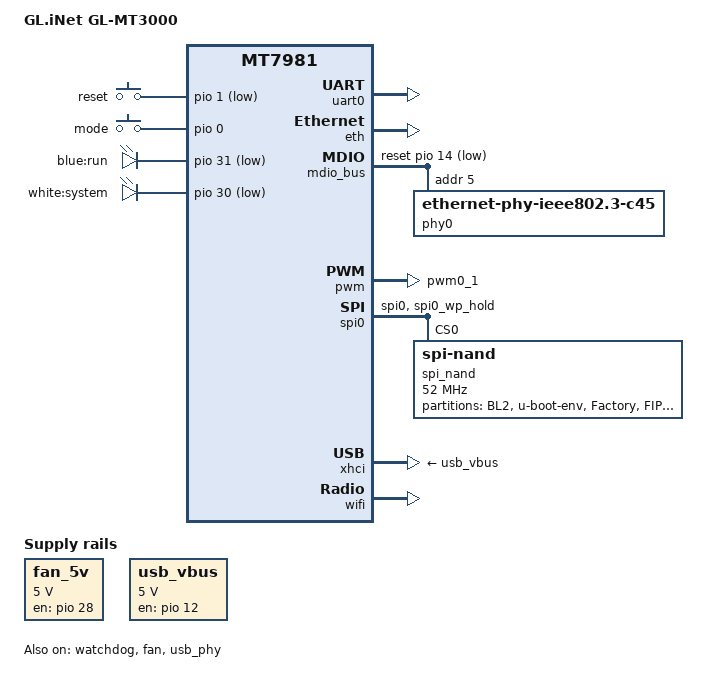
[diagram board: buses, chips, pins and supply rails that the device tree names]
/dts-v1/;

#include "mt7981.dtsi"

/ {
	model = "GL.iNet GL-MT3000";
	compatible = "glinet,gl-mt3000", "mediatek,mt7981";

	aliases {
		led-boot = &led_run;
		led-failsafe = &led_run;
		led-running = &led_white;
		led-upgrade = &led_run;
		serial0 = &uart0;
	};

	chosen {
		stdout-path = "serial0:115200n8";
	};

	gpio-keys {
		compatible = "gpio-keys";

		reset {
			label = "reset";
			linux,code = <KEY_RESTART>;
			gpios = <&pio 1 GPIO_ACTIVE_LOW>;
		};

		mode {
			label = "mode";
			linux,input-type = <EV_SW>;
			linux,code = <BTN_0>;
			gpios = <&pio 0 GPIO_ACTIVE_HIGH>;
			debounce-interval = <60>;
		};
	};

	leds {
		compatible = "gpio-leds";

		led_run: run {
			label = "blue:run";
			gpios = <&pio 31 GPIO_ACTIVE_LOW>;
		};

		led_white: system {
			label = "white:system";
			gpios = <&pio 30 GPIO_ACTIVE_LOW>;
		};
	};

	fan_5v: regulator-fan-5v {
		compatible = "regulator-fixed";
		regulator-name = "fan";
		regulator-min-microvolt = <5000000>;
		regulator-max-microvolt = <5000000>;
		gpio = <&pio 28 GPIO_ACTIVE_HIGH>;
		enable-active-high;
		regulator-boot-on;
	};

	usb_vbus: regulator-usb-vbus {
		compatible = "regulator-fixed";
		regulator-name = "usb_vbus";
		regulator-min-microvolt = <5000000>;
		regulator-max-microvolt = <5000000>;
		gpio = <&pio 12 GPIO_ACTIVE_HIGH>;
		enable-active-high;
		regulator-boot-on;
	};
};

&uart0 {
	status = "okay";
};

&watchdog {
	status = "okay";
};

&eth {
	pinctrl-names = "default";
	pinctrl-0 = <&mdio_pins>;

	status = "okay";

	gmac0: mac@0 {
		compatible = "mediatek,eth-mac";
		reg = <0>;
		phy-mode = "2500base-x";
		phy-handle = <&phy0>;
		nvmem-cells = <&macaddr>;
		nvmem-cell-names = "mac-address";
	};

	gmac1: mac@1 {
		compatible = "mediatek,eth-mac";
		reg = <1>;
		phy-mode = "gmii";
		phy-handle = <&int_gbe_phy>;
		nvmem-cells = <&macaddr>;
		nvmem-cell-names = "mac-address";
		mac-address-increment = <1>;
	};
};

&mdio_bus {
	reset-gpios = <&pio 14 GPIO_ACTIVE_LOW>;
	reset-delay-us = <600>;
	reset-post-delay-us = <20000>;

	phy0: ethernet-phy@5 {
		reg = <5>;
		compatible = "ethernet-phy-ieee802.3-c45";
		phy-mode = "2500base-x";
	};
};

&pwm {
	pinctrl-names = "default";
	pinctrl-0 = <&pwm_pins>;

	status = "okay";
};

&fan {
	pwms = <&pwm 0 40000 0>;
	fan-supply = <&fan_5v>;
	interrupt-parent = <&pio>;
	interrupts = <29 IRQ_TYPE_EDGE_RISING>;
	status = "okay";
};

&spi0 {
	pinctrl-names = "default";
	pinctrl-0 = <&spi0_flash_pins>;
	status = "okay";

	spi_nand: flash@0 {
		#address-cells = <1>;
		#size-cells = <1>;
		compatible = "spi-nand";
		reg = <0>;
		spi-max-frequency = <52000000>;

		spi-cal-enable;
		spi-cal-mode = "read-data";
		spi-cal-datalen = <7>;
		spi-cal-data = /bits/ 8 <0x53 0x50 0x49 0x4E 0x41 0x4E 0x44>;
		spi-cal-addrlen = <5>;
		spi-cal-addr = /bits/ 32 <0x0 0x0 0x0 0x0 0x0>;

		spi-tx-buswidth = <4>;
		spi-rx-buswidth = <4>;
		mediatek,nmbm;
		mediatek,bmt-max-ratio = <1>;
		mediatek,bmt-max-reserved-blocks = <64>;

		partitions {
			compatible = "fixed-partitions";
			#address-cells = <1>;
			#size-cells = <1>;

			partition@0 {
				label = "BL2";
				reg = <0x00000 0x0100000>;
				read-only;
			};

			partition@100000 {
				label = "u-boot-env";
				reg = <0x0100000 0x0080000>;
			};

			factory: partition@180000 {
				label = "Factory";
				reg = <0x180000 0x0200000>;
				compatible = "nvmem-cells";
				#address-cells = <1>;
				#size-cells = <1>;

				macaddr: macaddr@a {
					reg = <0xa 0x6>;
				};
			};

			partition@380000 {
				label = "FIP";
				reg = <0x380000 0x0200000>;
			};

			partition@580000 {
				label = "log";
				reg = <0x580000 0x0040000>;
			};

			partition@5c0000 {
				label = "ubi";
				reg = <0x5c0000 0xf640000>;
				compatible = "linux,ubi";
			};
		};
	};
};

&pio {
	spi0_flash_pins: spi0-pins {
		mux {
			function = "spi";
			groups = "spi0", "spi0_wp_hold";
		};
	};

	pwm_pins: pwm0-pins {
		mux {
			function = "pwm";
			groups = "pwm0_1";
		};
	};
};

&usb_phy {
	status = "okay";
};

&xhci {
	vbus-supply = <&usb_vbus>;

	status = "okay";
};

&wifi {
	mediatek,mtd-eeprom = <&factory 0x0>;

	status = "okay";
};
